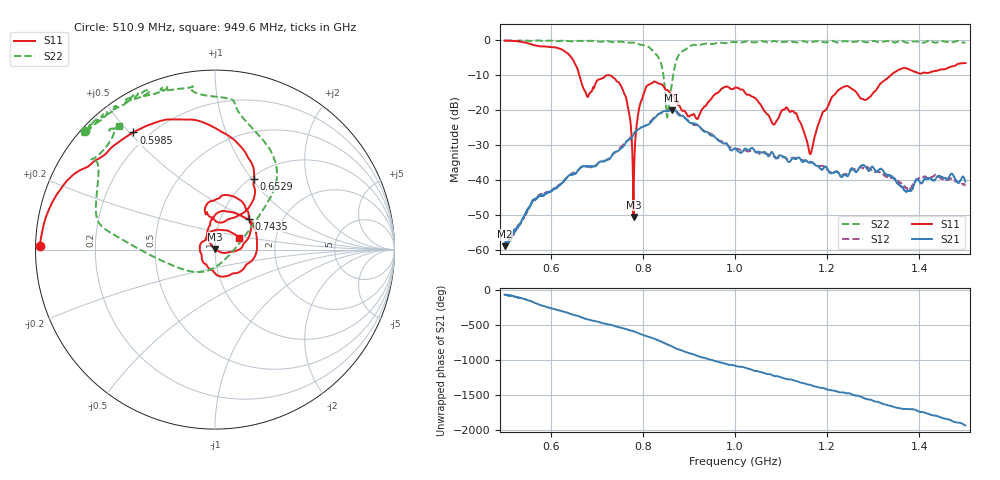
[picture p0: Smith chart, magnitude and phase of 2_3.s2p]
!Agilent Technologies,E8364B,US42250235,A.06.04.32
!Agilent E8364B: A.06.04.32
!Date: Thursday, October 01, 2020 11:07:12
!Correction: S11(Full 2 Port(1,2)) S21(Full 2 Port(1,2)) S12(Full 2 Port(1,2)) S22(Full 2 Port(1,2))
!S2P File: Measurements: S11, S21, S12, S22:
# Hz S  dB  R 50
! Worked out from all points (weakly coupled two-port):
!   2650 points, 500 MHz to 1.5 GHz, reference 50 ohm
!   highest |S21| = -20.09 dB at 862.4 MHz (marker M1); lowest = -59.0 dB at 500 MHz (marker M2)
!   lowest |S11| = -50.7 dB at 779.7 MHz (marker M3), VSWR 1.01, Z = 50.1 + j0.285 ohm
!   |S11| at or under -10 dB: 661.9 MHz to 1.339 GHz (676.9 MHz wide, 67.7 % of centre)
!   |S22| runs from -22.1 to -0.1 dB; largest |S21 - S12| = 0.0091
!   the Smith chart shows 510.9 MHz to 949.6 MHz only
!   S11 on the Smith chart (normalised r, x): 510.9 MHz: 0.01, +0.01; 598.5 MHz: 0.14, +0.51; 652.9 MHz: 1.04, +1.03; 743.5 MHz: 1.36, +0.50; 949.6 MHz: 1.29, +0.18
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5e8  -0.17 -175.2  -59.02 -69.6  -58.45 -66.2  -0.24 136.5
5.109475e8  -0.22 178.7  -57.10 -81.2  -57.12 -78.3  -0.15 137.6
5.985277e8  -1.99 124.9  -43.44 101.0  -43.25 105.6  -0.20 129.8
6.528879e8  -6.91 61.1  -38.33 -3.6  -38.00 -0.5  -0.33 119.2
6.668554e8  -12.35 54.1  -36.34 -33.1  -36.42 -29.5  -0.32 121.6
7.434881e8  -11.83 42.6  -31.92 -168.4  -31.80 -165.9  -0.55 106.4
7.665157e8  -18.37 -2.7  -28.79 151.4  -28.88 150.7  -0.74 102.9
7.797282e8  -50.67 76.7  -27.07 127.3  -26.99 123.8  -0.74 97.7
7.974707e8  -17.18 101.8  -25.00 80.3  -24.97 78.6  -1.42 87.9
8.337108e8  -12.43 12.6  -21.19 -3.8  -21.20 -6.6  -4.97 52.4
8.529634e8  -14.32 -33.4  -20.39 -60.9  -20.25 -63.0  -22.14 -48.2
8.624009e8  -15.63 -55.7  -20.09 -87.5  -20.00 -90.3  -12.97 -152.8
8.846735e8  -20.20 -118.8  -21.67 -148.7  -21.71 -153.0  -3.32 164.9
9.496036e8  -16.63 27.2  -27.41 75.1  -26.97 68.0  -1.18 127.8
1.000189e9  -13.62 -110.8  -31.07 -7.2  -31.04 -15.8  -0.57 119.3
1.083239e9  -24.21 11.3  -32.67 -149.7  -33.36 -154.0  -0.30 105.7
1.129294e9  -20.87 -170.6  -34.05 139.5  -33.75 130.5  -0.62 103.6
1.166667e9  -31.47 21.8  -34.97 70.9  -35.00 60.5  -0.61 95.7
1.224047e9  -14.38 -94.1  -37.95 -21.3  -37.98 -29.1  -0.71 91.8
1.284447e9  -17.10 -135.7  -36.50 -121.7  -36.53 -127.1  -0.68 89.0
1.333522e9  -10.66 -138.5  -38.68 146.5  -39.18 140.6  -0.28 84.1
1.5e9  -6.63 139.1  -40.53 -141.5  -41.72 -147.2  -0.68 60.8
